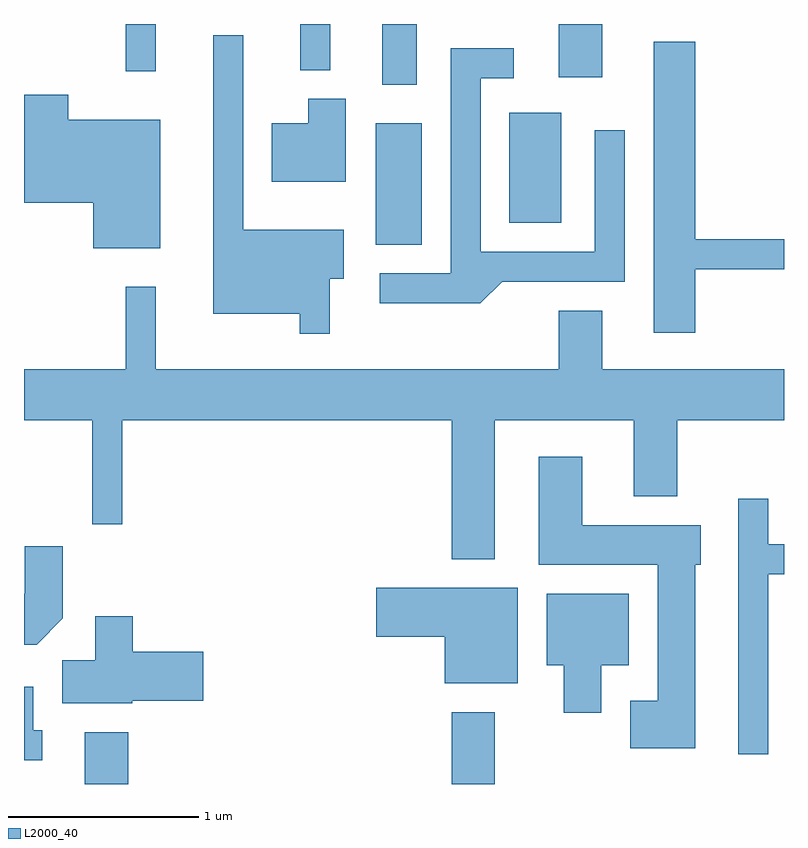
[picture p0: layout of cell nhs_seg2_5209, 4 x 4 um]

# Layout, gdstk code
import gdstk
lib = gdstk.Library(unit=1e-6, precision=1e-09)
def R(c, l, rs):  # rectangles x0, y0, x1, y1
    for r in rs: c.add(gdstk.rectangle(r[:2], r[2:], *l))
def P(c, l, *ps):  # polygons
    for p in ps: c.add(gdstk.Polygon(p, *l))
L2000_40 = (2000, 40)

nhs_seg2_5209 = lib.new_cell('nhs_seg2_5209')
R(nhs_seg2_5209, L2000_40, [(339.931,979.802,340.159,980.074), (341.861,979.802,342.089,980.179), (341.461,982.641,341.704,983.279), (342.166,982.756,342.439,983.334), (341.496,983.481,341.679,983.802), (342.426,983.521,342.654,983.802), (340.146,983.553,340.304,983.802), (341.066,983.558,341.224,983.802)])
P(nhs_seg2_5209, L2000_40, [(341.219,982.461),(341.294,982.461),(341.294,982.719),(340.764,982.719),(340.764,983.743),(340.606,983.743),(340.606,982.276),(341.061,982.276),(341.061,982.173),(341.219,982.173)],
  [(343.144,982.511),(343.611,982.511),(343.611,982.669),(343.144,982.669),(343.144,983.709),(342.926,983.709),(342.926,982.176),(343.144,982.176)],
  [(342.127,982.446),(342.774,982.446),(342.774,983.243),(342.616,983.243),(342.616,982.604),(342.014,982.604),(342.014,983.516),(342.188,983.516),(342.188,983.674),(341.856,983.674),(341.856,982.489),(341.483,982.489),(341.483,982.331),(342.012,982.331)],
  [(340.329,983.299),(339.844,983.299),(339.844,983.429),(339.611,983.429),(339.611,982.861),(339.976,982.861),(339.976,982.621),(340.329,982.621)],
  [(341.304,983.409),(341.106,983.409),(341.106,983.279),(340.916,983.279),(340.916,982.971),(341.304,982.971)],
  [(342.089,981.716),(342.821,981.716),(342.821,981.316),(343.049,981.316),(343.049,981.716),(343.611,981.716),(343.611,981.984),(342.654,981.984),(342.654,982.294),(342.426,982.294),(342.426,981.984),(340.304,981.984),(340.304,982.418),(340.146,982.418),(340.146,981.984),(339.611,981.984),(339.611,981.716),(339.971,981.716),(339.971,981.168),(340.129,981.168),(340.129,981.716),(341.861,981.716),(341.861,980.986),(342.089,980.986)],
  [(343.144,980.956),(343.174,980.956),(343.174,981.164),(342.549,981.164),(342.549,981.524),(342.321,981.524),(342.321,980.956),(342.946,980.956),(342.946,980.239),(342.801,980.239),(342.801,979.991),(343.144,979.991)],
  [(343.529,980.906),(343.611,980.906),(343.611,981.064),(343.529,981.064),(343.529,981.303),(343.371,981.303),(343.371,979.958),(343.529,979.958)],
  [(339.814,980.674),(339.814,981.054),(339.616,981.054),(339.616,980.804),(339.611,980.804),(339.611,980.536),(339.677,980.536)],
  [(342.209,980.834),(341.466,980.834),(341.466,980.576),(341.826,980.576),(341.826,980.331),(342.209,980.331)],
  [(342.649,980.426),(342.794,980.426),(342.794,980.804),(342.361,980.804),(342.361,980.426),(342.451,980.426),(342.451,980.176),(342.649,980.176)],
  [(340.18,980.241),(340.554,980.241),(340.554,980.499),(340.184,980.499),(340.184,980.684),(339.986,980.684),(339.986,980.454),(339.811,980.454),(339.811,980.226),(340.18,980.226)],
  [(339.708,980.084),(339.659,980.084),(339.659,980.314),(339.611,980.314),(339.611,979.926),(339.708,979.926)])

lib.write_gds('nhs_seg2_5209.gds')
